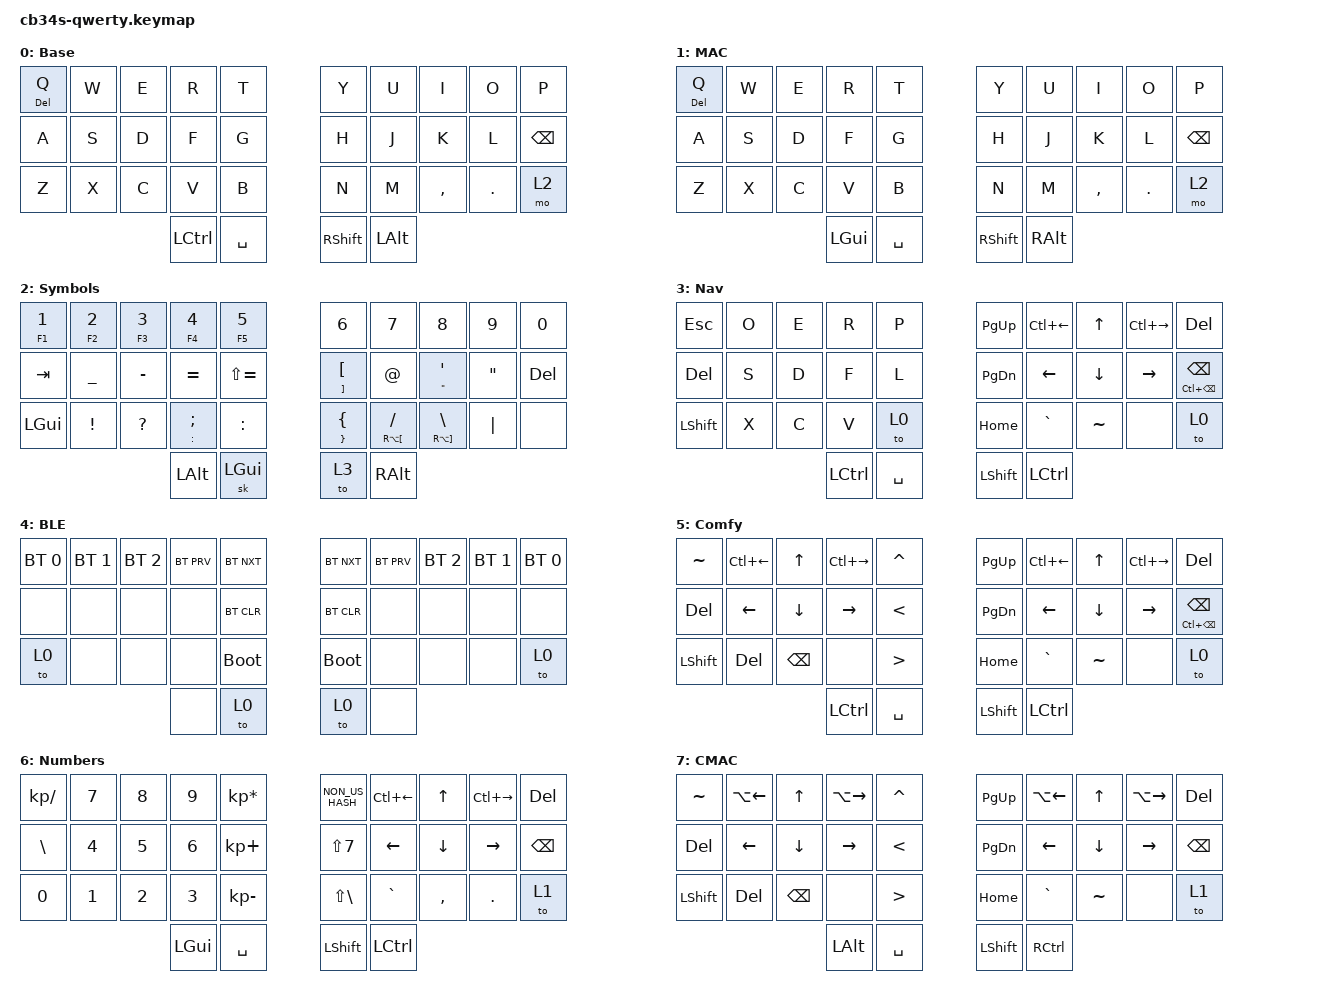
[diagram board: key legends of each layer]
/*
 * Copyright (c) 2020 The ZMK Contributors
 *
 * SPDX-License-Identifier: MIT
 */

#include <behaviors.dtsi>
#include <dt-bindings/zmk/keys.h>
#include <dt-bindings/zmk/bt.h>
#include "keymap_eurkey_swiss_de.h"

#define DEFAULT_L 	0
#define MAC_L	    1
#define NUMSYM_L 	2
#define NAV_L 		3
#define BLE_L 		4
#define COMFY_L		5
#define NUMBERS_L	6
#define COMMA_L	7

// Using layer taps on thumbs, having quick tap as well helps w/ repeating space/backspace

&lt {
    quick_tap_ms = <200>;
};

// Sticky Layer Behavior - release sticky behavior after x ms

&sk {
    release-after-ms = <1800>;
};

// COMBOS
// ===========================================================================================================
/*
	.----------------------------------------------------------------------.
	|  0  |  1  |  2  |  3  |  4  |          |  5  |  6  |  7  |  8  |  9  |
	|  10 |  11 |  12 |  13 |  14 |          |  15 |  16 |  17 |  18 |  19 |
	|  20 |  21 |  22 |  23 |  24 |          |  25 |  26 |  27 |  28 |  29 |
	'-----------------\  30 |  31 |          |  32 |  33 /-----------------'
	                   '--------------------------------'
			
	ESC 	= 0 | 1			
	TAB 	= 11 | 12		LC(C)	= 17 | 18
							LC(V)	= 27 | 28
	ENTER 	= 12 | 13		SK(SFT) = 16 | 17       SK(LALT) = 6 | 7
	LPAR 	= 13 | 14		RPAR 	= 15 | 16       REPEAT 	= 18 | 19

	TO_4	= 21 | 22
	TO_0	= 22 | 23       TO_0	= 26 | 27 
	TO_3	= 20 | 21 | 22	TO_3	= 27 | 28 | 29
    TO_5    = 3  | 13       TO_5    = 6  | 16

*/

/ {
    combos {
        compatible = "zmk,combos";

        combo_esc {
            timeout-ms = <40>;
            key-positions = <0 1>;
            bindings = <&kp ESC>;
        };

        combo_tab {
            timeout-ms = <40>;
            key-positions = <11 12>;
            bindings = <&kp TAB>;
        };

        combo_enter {
            timeout-ms = <40>;
            key-positions = <12 13>;
            bindings = <&kp ENTER>;
        };

        combo_lpar {
            timeout-ms = <40>;
            key-positions = <13 14>;
            bindings = <&kp LPAR>;
        };

        combo_rpar {
            timeout-ms = <40>;
            key-positions = <15 16>;
            bindings = <&kp RPAR>;
        };

        combo_comfy_left {
            timeout-ms = <40>;
            key-positions = <21 22>;
            bindings = <&to COMFY_L>;
            layers = <0 2 3 4 5 6>;
        };

        combo_comfy_right {
            timeout-ms = <40>;
            key-positions = <27 28>;
            bindings = <&to COMFY_L>;
            layers = <0 2 3 4 5 6>;
        };

        combo_default_left {
            timeout-ms = <40>;
            key-positions = <22 23>;
            bindings = <&to DEFAULT_L>;
            layers = <0 2 3 4 5 6>;
        };

        combo_default_right {
            timeout-ms = <40>;
            key-positions = <26 27>;
            bindings = <&to DEFAULT_L>;
            layers = <0 2 3 4 5 6>;
        };

        combo_sk_shift {
            timeout-ms = <40>;
            key-positions = <16 17>;
            bindings = <&sk LSHIFT>;
        };

        combo_sk_lalt{
            timeout-ms = <40>;
            key-positions = <6 7>;
            bindings = <&sk LALT>;
        };

        combo_ble_left {
            timeout-ms = <40>;
            key-positions = <20 21 22>;
            bindings = <&to BLE_L>;
        };

        combo_ble_right {
            timeout-ms = <40>;
            key-positions = <27 28 29>;
            bindings = <&to BLE_L>;
        };

        combo_numb_left {
            timeout-ms = <40>;
            key-positions = <10 14>;
            bindings = <&to NUMBERS_L>;
        };

        combo_numb_right {
            timeout-ms = <40>;
            key-positions = <15 19>;
            bindings = <&to NUMBERS_L>;
        };

        combo_dot_left {
            timeout-ms = <40>;
            key-positions = <13 22>;
            bindings = <&kp DOT>;
            layers = <5>;
        };

        combo_dot_right {
            timeout-ms = <40>;
            key-positions = <16 27>;
            bindings = <&kp DOT>;
            layers = <5>;
        };

        combo_repeat {
            timeout-ms = <40>;
            key-positions = <18 19>;
            bindings = <&key_repeat>;
        };

        // MAC COMBOS

        combo_default_left_MAC {
            timeout-ms = <40>;
            key-positions = <22 23>;
            bindings = <&to 1>;
            layers = <61 7>;
        };

        combo_default_right_MAC {
            timeout-ms = <40>;
            key-positions = <26 27>;
            bindings = <&to 1>;
            layers = <1 7>;
        };

        combo_comfy_left_MAC {
            timeout-ms = <40>;
            key-positions = <21 22>;
            bindings = <&to 7>;
            layers = <1 7>;
        };

        combo_comfy_right_MAC {
            timeout-ms = <40>;
            key-positions = <27 28>;
            bindings = <&to 7>;
            layers = <1 7>;
        };

        combo_mac_base_layer {
            timeout-ms = <40>;
            key-positions = <0 10 20>;
            bindings = <&to 1>;
            layers = <0 2 3 4 5 6>;
        };

        combo_win_base_layer {
            timeout-ms = <40>;
            key-positions = <0 10 20>;
            bindings = <&to 0>;
            layers = <1 7>;
        };

    };

    // BEHAVIOR    
    // ===========================================================================================================

    behaviors {
        hm: homerow_mods {
            compatible = "zmk,behavior-hold-tap";
            label = "homerow mods";
            #binding-cells = <2>;
            tapping_term_ms = <170>;
            quick_tap_ms = <0>;
            flavor = "tap-preferred";
            bindings =
                <&kp>,
                <&kp>;
        };
    };

    // KEYMAP
    // ===========================================================================================================
    // -----------------------------------------------------------------------------
    /* 0 = Default
        .----------------------------------------------------------------------.
        |Q DEL|  W  |  E  |  R  |  T  |          |  Y  |  U  |  I  |  O  |  P  |
        |  A  |  S  |  D  |  F  |  G  |          |  H  |  J  |  K  |  L  |BKSPC|
        |  Z  |  X  |  C  |  V  |  B  |          |  N  |  M  |  ,  |  .  |MO_2 |
        '-----------------\ CTRL| SPC |          | SFT | LALT/-----------------'
                           '--------------------------------'
    */

    keymap {
        compatible = "zmk,keymap";

        default_layer {
            label = "Base";
            bindings = <
&mt DEL Q  &kp W  &kp E      &kp R      &kp T           &kp Y        &kp U      &kp I     &kp O    &kp P
    &kp A  &kp S  &kp D      &kp F      &kp G           &kp H        &kp J      &kp K     &kp L    &kp BACKSPACE
    &kp Z  &kp X  &kp C      &kp V      &kp B           &kp N        &kp M      &kp COMMA &kp DOT  &mo 2
                             &kp LCTRL  &kp SPACE       &kp RSHIFT   &kp LALT
            >;
        };
    
    // ===========================================================================================================
    // -----------------------------------------------------------------------------
    /* 1 = Default MAC
        .----------------------------------------------------------------------.
        |Q DEL|  W  |  E  |  R  |  T  |          |  Y  |  U  |  I  |  O  |  P  |
        |  A  |  S  |  D  |  F  |  G  |          |  H  |  J  |  K  |  L  |BKSPC|
        |  Z  |  X  |  C  |  V  |  B  |          |  N  |  M  |  ,  |  .  |MO_2 |
        '-----------------\ LGUI| SPC |          | SFT | RALT/-----------------'
                           '--------------------------------'
        */

        mac_layer {
            label = "MAC";
            bindings = <
&mt DEL Q  &kp W  &kp E      &kp R      &kp T           &kp Y        &kp U      &kp I     &kp O    &kp P
    &kp A  &kp S  &kp D      &kp F      &kp G           &kp H        &kp J      &kp K     &kp L    &kp BACKSPACE
    &kp Z  &kp X  &kp C      &kp V      &kp B           &kp N        &kp M      &kp COMMA &kp DOT  &mo 2
                             &kp LGUI   &kp SPACE       &kp RSHIFT   &kp RALT
            >;
        };

        // ===========================================================================================================
        // -----------------------------------------------------------------------------
        /* 2 = Numbers and Symbols
        .----------------------------------------------------------------------.
        | 1 F1|2 F2 |3 F3 |4 F4 |5 F5 |          |  6  |  7  |  8  |  9  |  0  |
        | TAB |  _  |  -  |  =  |  +  |          | [ ] |  @  | ' " |  "  | DEL |
        | LGUI|  !  |  ?  | ; : |  :  |          | { } | / « | \ » |  |  |     |
        '-----------------\ LALT| SFT |          |TO_3 |     /-----------------'
                           '--------------------------------'
        */

        numsym_layer {
            label = "Symbols";
            bindings = <
    &mt F1 N1  &mt F2 N2  &mt F3 N3  &mt F4 N4      &mt F5 N5           &kp N6          &kp N7      &kp N8      &kp N9   &kp N0
    &kp TAB    &kp UNDER  &kp MINUS  &kp EQUAL      &kp LS(EQUAL)       &mt RBKT LBKT   &kp AT      &mt DQT SQT &kp DQT  &kp DEL
    &kp LGUI   &kp EXCL   &kp QMARK  &mt COLON SEMI &kp COLON           &mt RBRC LBRC   &mt RA(LBKT) FSLH  &mt RA(RBKT) BSLH &kp PIPE &none
                                     &kp LALT       &sk LEFT_GUI        &to 3    &kp RALT
            >;
        };

        // ===========================================================================================================
        // -----------------------------------------------------------------------------
        /* 3 = Navigation
        .----------------------------------------------------------------------.
        | ESC |  O  |  E  |  R  |  P  |          |PGUP | ← ← |  ↑  | → → | DEL |
        | DEL |  S  |  D  |  F  |  L  |          |PGDN |  ←  |  ↓  |  →  |BKSPC|
        | SFT |  X  |  C  |  V  |TO_0 |          |HOME |  `  |  ~  |     |TO_0 |
        '-----------------\ CTRL| SPC |          |SHFT |CTRL /-----------------'
                           '--------------------------------'
        */

        nav_layer {
            label = "Nav";
            bindings = <
   &kp ESC     &kp O  &kp E      &kp R      &kp P           &kp PG_UP   &kp LC(LEFT) &kp UP     &kp LC(RIGHT) &kp DEL
   &kp DEL     &kp S  &kp D      &kp F      &kp L           &kp PG_DN   &kp LEFT     &kp DOWN   &kp RIGHT  	  &mt LC(BACKSPACE) BACKSPACE
   &kp LSHIFT  &kp X  &kp C      &kp V      &to 0           &kp HOME    &kp GRAVE    &kp TILDE  &none		  &to 0
                          		 &kp LCTRL  &kp SPACE       &kp LSHIFT  &kp LCTRL
            >;
        };

        // ===========================================================================================================
        // -----------------------------------------------------------------------------
        /* 4 = Bluetooth
        .----------------------------------------------------------------------.
        | BT0 | BT1 | BT2 | BTP | BTN |     	 | BTN | BTP | BT2 | BT1 | BT0 |
        |     |     |     |     | BLC |     	 | BLC |     |     |     |     |
        |TO_0 |     |     |     | BLO |          | BLO |     |     |	 |TO_0 |
        '-----------------\     |TO_0 |          |TO_0 |     /-----------------'
                           '--------------------------------'
        */

        ble_layer {
            label = "BLE";
            bindings = <
&bt BT_SEL 0  	&bt BT_SEL 1  &bt BT_SEL 2  &bt BT_PRV  &bt BT_NXT		&bt BT_NXT	&bt BT_PRV  &bt BT_SEL 2  &bt BT_SEL 1  &bt BT_SEL 0
&none    	    &none         &none         &none	    &bt BT_CLR    	&bt BT_CLR  &none       &none         &none         &none
&to 0 		    &none         &none         &none       &bootloader    	&bootloader &none       &none         &none         &to 0
                                	        &none       &to 0          	&to 0       &none
            >;
        };

        // ===========================================================================================================
        // -----------------------------------------------------------------------------
        /* 5 = Comfort
        .----------------------------------------------------------------------.
        | TIL | ← ← |  ↑  | → → |  ^  |     	 |PGUP | ← ← |  ↑  | → → | DEL |
        | DEL |  ←  |  ↓  |  →  |  <  |     	 |PGDN |  ←  |  ↓  |  →  |BKSPC|
        | SFT | DEL |BKSPC|     |  >  |          |HOME |  `  |  ~  |     |TO_0 |
        '-----------------\ CTRL| SPC |          |SHFT |CTRL /-----------------'
                           '--------------------------------'
        */

        comfy_layer {
            label = "Comfy";
            bindings = <
 &kp TILDE  &kp LC(LEFT) &kp UP         &kp LC(RIGHT) &kp CARET            &kp PG_UP   &kp LC(LEFT) &kp UP     &kp LC(RIGHT)  &kp DEL
 &kp DEL    &kp LEFT     &kp DOWN       &kp RIGHT     &kp LESS_THAN        &kp PG_DN   &kp LEFT     &kp DOWN   &kp RIGHT  	  &mt LC(BACKSPACE) BACKSPACE
 &kp LSHIFT &kp DEL      &kp BACKSPACE  &none         &kp GREATER_THAN     &kp HOME    &kp GRAVE    &kp TILDE  &none		  &to 0
                                        &kp LCTRL     &kp SPACE            &kp LSHIFT  &kp LCTRL
            >;
        };

        // ===========================================================================================================
        // -----------------------------------------------------------------------------
        /* 6 = Numbers
        .----------------------------------------------------------------------.
        |  /  |  7  |  8  |  9  |  *  |     	 |  #  | ← ← |  ↑  | → → | DEL |
        |  \  |  4  |  5  |  6  |  +  |     	 |  &  |  ←  |  ↓  |  →  |BKSPC|
        |  0  |  1  |  2  |  3  |  -  |          |  |  |  `  |  ,  |  .  |  0  |
        '-----------------\ LGUI| SPC |          |SHFT |LCTRL/-----------------'
                           '--------------------------------'
        */

        numbers_layer {
            label = "Numbers";
            bindings = <
 &kp KP_DIVIDE  &kp N7   &kp N8   &kp N9      &kp KP_MULTIPLY      &kp NON_US_HASH   &kp LC(LEFT)  &kp UP    &kp LC(RIGHT) &kp DEL
 &kp BACKSLASH  &kp N4   &kp N5   &kp N6      &kp KP_PLUS          &kp LS(N7)        &kp LEFT      &kp DOWN  &kp RIGHT     &kp BACKSPACE
 &kp N0         &kp N1   &kp N2   &kp N3      &kp KP_MINUS         &kp LS(BACKSLASH) &kp GRAVE     &kp COMMA &kp DOT       &to 1
                                  &kp LGUI    &kp SPACE            &kp LSHIFT        &kp LCTRL
            >;
        };

        // ===========================================================================================================
        // -----------------------------------------------------------------------------
        /* 7 = Comfort MAC
        .----------------------------------------------------------------------.
        | TIL | ← ← |  ↑  | → → |  ^  |     	 |PGUP | ← ← |  ↑  | → → | DEL |
        | DEL |  ←  |  ↓  |  →  |  <  |     	 |PGDN |  ←  |  ↓  |  →  |BKSPC|
        | SFT | DEL |BKSPC|     |  >  |          |HOME |  `  |  ~  |     |TO_1 |
        '-----------------\LALT | SPC |          |SHFT |RCTRL/-----------------'
                           '--------------------------------'
        */

        macnav_layer {
            label = "CMAC";
            bindings = <
 &kp TILDE  &kp LA(LEFT) &kp UP         &kp LA(RIGHT) &kp CARET            &kp PG_UP   &kp LA(LEFT) &kp UP     &kp LA(RIGHT)  &kp DEL
 &kp DEL    &kp LEFT     &kp DOWN       &kp RIGHT     &kp LESS_THAN        &kp PG_DN   &kp LEFT     &kp DOWN   &kp RIGHT  	  &kp BACKSPACE
 &kp LSHIFT &kp DEL      &kp BACKSPACE  &none         &kp GREATER_THAN     &kp HOME    &kp GRAVE    &kp TILDE  &none		  &to 1
                                        &kp LALT      &kp SPACE            &kp LSHIFT  &kp RCTRL
            >;
        };
    };
};

// ===========================================================================================================
